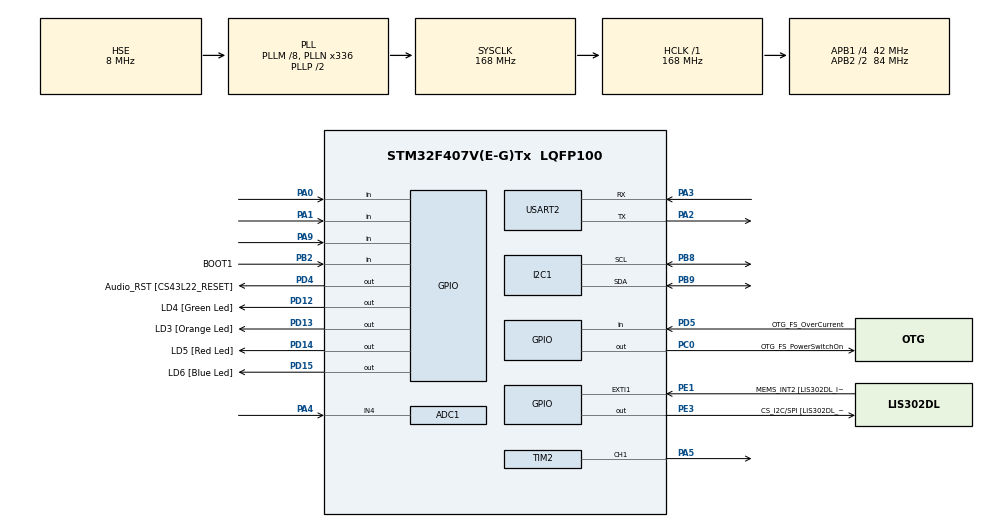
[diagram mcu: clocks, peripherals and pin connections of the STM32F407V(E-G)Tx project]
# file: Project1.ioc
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ADC1.Channel-2\#ChannelRegularConversion=ADC_CHANNEL_4
ADC1.NbrOfConversionFlag=1
ADC1.Rank-2\#ChannelRegularConversion=1
ADC1.SamplingTime-2\#ChannelRegularConversion=ADC_SAMPLETIME_3CYCLES
ADC1.master=1
FREERTOS.Tasks01=defaultTask,24,128,StartDefaultTask,Default,NULL,Dynamic,NULL,NULL;myTask02,32,128,AlarmTask,Default,NULL,Dynamic,NULL,NULL;myTask03,24,256,UITask,Default,NULL,Dynamic,NULL,NULL;myTask04,40,128,EncoderTask,Default,NULL,Dynamic,NULL,NULL
FREERTOS.configUSE_NEWLIB_REENTRANT=1
Mcu.Family=STM32F4
Mcu.Name=STM32F407V(E-G)Tx
Mcu.Package=LQFP100
NVIC.PriorityGroup=NVIC_PRIORITYGROUP_4
NVIC.TIM4_IRQn=true\:15\:0\:false\:false\:true\:false\:false\:true\:true
NVIC.TimeBase=TIM4_IRQn
NVIC.TimeBaseIP=TIM4
NVIC.USART2_IRQn=true\:5\:0\:false\:false\:true\:true\:true\:true\:true
PA0-WKUP.GPIO_PuPd=GPIO_PULLUP
PA0-WKUP.Signal=GPIO_Input
PA1.GPIO_PuPd=GPIO_PULLUP
PA1.Signal=GPIO_Input
PA12.GPIO_Label=OTG_FS_DP
PA12.GPIO_Mode=GPIO_MODE_AF_PP
PA12.GPIO_PuPd=GPIO_NOPULL
PA12.GPIO_Speed=GPIO_SPEED_FREQ_LOW
PA12.Signal=USB_OTG_FS_DP
PA13.GPIO_Label=SWDIO
PA13.Mode=Serial_Wire
PA13.Signal=SYS_JTMS-SWDIO
PA14.GPIO_Label=SWCLK
PA14.Mode=Serial_Wire
PA14.Signal=SYS_JTCK-SWCLK
PA2.Mode=Asynchronous
PA2.Signal=USART2_TX
PA3.Mode=Asynchronous
PA3.Signal=USART2_RX
PA4.Signal=ADCx_IN4
PA5.Signal=S_TIM2_CH1_ETR
PA6.GPIO_Label=SPI1_MISO [LIS302DL_SDO]
PA6.GPIO_Mode=GPIO_MODE_AF_PP
PA6.GPIO_PuPd=GPIO_NOPULL
PA6.GPIO_Speed=GPIO_SPEED_FREQ_LOW
PA6.Signal=SPI1_MISO
PA7.GPIO_Label=SPI1_MOSI [LIS302DL_SDA/SDI/SDO]
PA7.GPIO_Mode=GPIO_MODE_AF_PP
PA7.GPIO_PuPd=GPIO_NOPULL
PA7.GPIO_Speed=GPIO_SPEED_FREQ_LOW
PA7.Signal=SPI1_MOSI
PA9.GPIO_PuPd=GPIO_PULLUP
PA9.Signal=GPIO_Input
PB10.GPIO_Label=CLK_IN [MP45DT02_CLK]
PB10.GPIO_Mode=GPIO_MODE_AF_PP
PB10.GPIO_PuPd=GPIO_NOPULL
PB10.GPIO_Speed=GPIO_SPEED_FREQ_LOW
PB10.Signal=I2S2_CK
PB2.GPIO_Label=BOOT1
PB2.GPIO_Mode=GPIO_MODE_INPUT
PB2.GPIO_PuPd=GPIO_NOPULL
PB2.Signal=GPIO_Input
PB3.GPIO_Label=SWO
PB3.Signal=SYS_JTDO-SWO
PB8.Mode=I2C
PB8.Signal=I2C1_SCL
PB9.Mode=I2C
PB9.Signal=I2C1_SDA
PC0.GPIO_Label=OTG_FS_PowerSwitchOn
PC0.GPIO_PuPd=GPIO_NOPULL
PC0.GPIO_Speed=GPIO_SPEED_FREQ_LOW
PC0.PinState=GPIO_PIN_SET
PC0.Signal=GPIO_Output
PC10.GPIO_Label=I2S3_SCK [CS43L22_SCLK]
PC10.GPIO_Mode=GPIO_MODE_AF_PP
PC10.GPIO_PuPd=GPIO_NOPULL
PC10.GPIO_Speed=GPIO_SPEED_FREQ_LOW
PC10.Signal=I2S3_CK
PC12.GPIO_Label=I2S3_SD [CS43L22_SDIN]
PC12.GPIO_Mode=GPIO_MODE_AF_PP
PC12.GPIO_PuPd=GPIO_NOPULL
PC12.GPIO_Speed=GPIO_SPEED_FREQ_LOW
PC12.Signal=I2S3_SD
PC14-OSC32_IN.GPIO_Label=PC14-OSC32_IN
PC14-OSC32_IN.Mode=LSE-External-Oscillator
PC14-OSC32_IN.Signal=RCC_OSC32_IN
PC15-OSC32_OUT.GPIO_Label=PC15-OSC32_OUT
PC15-OSC32_OUT.Mode=LSE-External-Oscillator
PC15-OSC32_OUT.Signal=RCC_OSC32_OUT
PC3.GPIO_Label=PDM_OUT [MP45DT02_DOUT]
PC3.GPIO_Mode=GPIO_MODE_AF_PP
PC3.GPIO_PuPd=GPIO_NOPULL
PC3.GPIO_Speed=GPIO_SPEED_FREQ_LOW
PC3.Signal=I2S2_SD
PC7.GPIO_Label=I2S3_MCK [CS43L22_MCLK]
PC7.GPIO_Mode=GPIO_MODE_AF_PP
PC7.GPIO_PuPd=GPIO_NOPULL
PC7.GPIO_Speed=GPIO_SPEED_FREQ_LOW
PC7.Signal=I2S3_MCK
PD12.GPIO_Label=LD4 [Green Led]
PD12.GPIO_PuPd=GPIO_NOPULL
PD12.GPIO_Speed=GPIO_SPEED_FREQ_LOW
PD12.Signal=GPIO_Output
PD13.GPIO_Label=LD3 [Orange Led]
PD13.GPIO_PuPd=GPIO_NOPULL
PD13.GPIO_Speed=GPIO_SPEED_FREQ_LOW
PD13.Signal=GPIO_Output
PD14.GPIO_Label=LD5 [Red Led]
PD14.GPIO_PuPd=GPIO_NOPULL
PD14.GPIO_Speed=GPIO_SPEED_FREQ_LOW
PD14.Signal=GPIO_Output
PD15.GPIO_Label=LD6 [Blue Led]
PD15.GPIO_PuPd=GPIO_NOPULL
PD15.GPIO_Speed=GPIO_SPEED_FREQ_LOW
PD15.Signal=GPIO_Output
PD4.GPIO_Label=Audio_RST [CS43L22_RESET]
PD4.GPIO_PuPd=GPIO_NOPULL
PD4.GPIO_Speed=GPIO_SPEED_FREQ_LOW
PD4.Signal=GPIO_Output
PD5.GPIO_Label=OTG_FS_OverCurrent
PD5.GPIO_Mode=GPIO_MODE_INPUT
PD5.GPIO_PuPd=GPIO_NOPULL
PD5.Signal=GPIO_Input
PE1.GPIO_Label=MEMS_INT2 [LIS302DL_INT2]
PE1.GPIO_ModeDefaultEXTI=GPIO_MODE_EVT_RISING
PE1.GPIO_PuPd=GPIO_NOPULL
PE1.Signal=GPXTI1
PE3.GPIO_Label=CS_I2C/SPI [LIS302DL_CS_I2C/SPI]
PE3.GPIO_PuPd=GPIO_NOPULL
PE3.GPIO_Speed=GPIO_SPEED_FREQ_LOW
PE3.Signal=GPIO_Output
PH0-OSC_IN.GPIO_Label=PH0-OSC_IN
PH0-OSC_IN.Mode=HSE-External-Oscillator
PH0-OSC_IN.Signal=RCC_OSC_IN
PH1-OSC_OUT.GPIO_Label=PH1-OSC_OUT
PH1-OSC_OUT.Mode=HSE-External-Oscillator
PH1-OSC_OUT.Signal=RCC_OSC_OUT
ProjectManager.HeapSize=0x200
ProjectManager.StackSize=0x400
ProjectManager.TargetToolchain=STM32CubeIDE
RCC.48MHZClocksFreq_Value=48000000
RCC.AHBFreq_Value=168000000
RCC.APB1CLKDivider=RCC_HCLK_DIV4
RCC.APB1Freq_Value=42000000
RCC.APB1TimFreq_Value=84000000
RCC.APB2CLKDivider=RCC_HCLK_DIV2
RCC.APB2Freq_Value=84000000
RCC.APB2TimFreq_Value=168000000
RCC.CortexFreq_Value=168000000
RCC.HCLKFreq_Value=168000000
RCC.HSE_VALUE=8000000
RCC.HSI_VALUE=16000000
RCC.PLLM=8
RCC.PLLN=336
RCC.PLLQ=7
RCC.PLLSourceVirtual=RCC_PLLSOURCE_HSE
RCC.SYSCLKFreq_VALUE=168000000
RCC.SYSCLKSource=RCC_SYSCLKSOURCE_PLLCLK
RCC.VCOOutputFreq_Value=336000000
SH.ADCx_IN4.0=ADC1_IN4,IN4
SH.S_TIM2_CH1_ETR.0=TIM2_CH1,PWM Generation1 CH1
TIM2.AutoReloadPreload=TIM_AUTORELOAD_PRELOAD_ENABLE
TIM2.Channel-PWM\ Generation1\ CH1=TIM_CHANNEL_1
TIM2.Period=499
TIM2.Prescaler=83
USART2.VirtualMode=VM_ASYNC
VP_FREERTOS_VS_CMSIS_V2.Mode=CMSIS_V2
VP_SYS_VS_tim4.Mode=TIM4
VP_TIM2_VS_ClockSourceINT.Mode=Internal
board=STM32F407G-DISC1

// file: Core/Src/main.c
/* USER CODE BEGIN Header */
/**
  ******************************************************************************
  * @file           : main.c
  * @brief          : Main program body
  ******************************************************************************
  * @attention
  *
  * Copyright (c) 2025 STMicroelectronics.
  * All rights reserved.
  *
  * This software is licensed under terms that can be found in the LICENSE file
  * in the root directory of this software component.
  * If no LICENSE file comes with this software, it is provided AS-IS.
  *
  ******************************************************************************
  */
/* USER CODE END Header */
#include "main.h"
#include "cmsis_os.h"
#include "adc.h"
#include "i2c.h"
#include "tim.h"
#include "usart.h"
#include "gpio.h"

/* USER CODE BEGIN Includes */
#include "stdio.h"
#include "string.h"
#include "menu.h"
#include "ssd1306.h"
#include "ssd1306_fonts.h"
#include "esp8266.h"
#include "soft_rtc.h"
#include "buzzer.h"
#include "ldr.h"
/* USER CODE END Includes */

void SystemClock_Config(void);
void MX_FREERTOS_Init(void);

int main(void)
{

  /* MCU Configuration--------------------------------------------------------*/

  /* Reset of all peripherals, Initializes the Flash interface and the Systick. */
  HAL_Init();

  /* Configure the system clock */
  SystemClock_Config();

  /* Initialize all configured peripherals */
  MX_GPIO_Init();
  MX_I2C1_Init();
  MX_TIM2_Init();
  MX_ADC1_Init();
  MX_USART2_UART_Init();
  /* USER CODE BEGIN 2 */
  //HAL_NVIC_SetPriorityGrouping(NVIC_PRIORITYGROUP_4);
  ssd1306_Init();
  Brightness_Init();
  Buzzer_Init();
  __disable_irq();
  __set_BASEPRI(0);           // 清除优先级屏蔽
  __enable_irq();
  // 可选：给 SysTick 一个较低优先级
  //HAL_NVIC_SetPriority(SysTick_IRQn, 15, 0);

//  Buzzer_BeepMs(500, 3000);
  ssd1306_Fill(Black);
  ssd1306_SetCursor(0, 0);  ssd1306_WriteString("Connecting WIFI...", Font_6x8, White);
  ssd1306_UpdateScreen();

  char ip[24];
  if (ESP_WiFiJoin("iPhoneOfShuai", "zoushuaifeng", ip, sizeof(ip)) == HAL_OK) {
  //if (ESP_WiFiJoin("Columbia University", NULL, ip, sizeof(ip)) == HAL_OK) {  //开放网络
	  // 2) 取时间并校准软RTC
	  ssd1306_SetCursor(0, 10);  ssd1306_WriteString("Getting Time...", Font_6x8, White);
	  ssd1306_UpdateScreen();
	  char dt[48];
	  ESP_GetNYTime_TXT(dt, sizeof(dt));
  } else {
	  // 若连接失败，可调用体检看问题在哪：
	  ESP_NetDiag_Show();
	  while(1){} //用死循环卡住体检显示
  }

  //while(1){}

  /* USER CODE END 2 */

  /* Init scheduler */
  osKernelInitialize();  /* Call init function for freertos objects (in cmsis_os2.c) */
  MX_FREERTOS_Init();

  /* Start scheduler */
  osKernelStart();

  /* We should never get here as control is now taken by the scheduler */

  /* Infinite loop */

}

void SystemClock_Config(void)
{
  RCC_OscInitTypeDef RCC_OscInitStruct = {0};
  RCC_ClkInitTypeDef RCC_ClkInitStruct = {0};

  /** Configure the main internal regulator output voltage
  */
  __HAL_RCC_PWR_CLK_ENABLE();
  __HAL_PWR_VOLTAGESCALING_CONFIG(PWR_REGULATOR_VOLTAGE_SCALE1);

  /** Initializes the RCC Oscillators according to the specified parameters
  * in the RCC_OscInitTypeDef structure.
  */
  RCC_OscInitStruct.OscillatorType = RCC_OSCILLATORTYPE_HSE;
  RCC_OscInitStruct.HSEState = RCC_HSE_ON;
  RCC_OscInitStruct.PLL.PLLState = RCC_PLL_ON;
  RCC_OscInitStruct.PLL.PLLSource = RCC_PLLSOURCE_HSE;
  RCC_OscInitStruct.PLL.PLLM = 8;
  RCC_OscInitStruct.PLL.PLLN = 336;
  RCC_OscInitStruct.PLL.PLLP = RCC_PLLP_DIV2;
  RCC_OscInitStruct.PLL.PLLQ = 7;
  if (HAL_RCC_OscConfig(&RCC_OscInitStruct) != HAL_OK)
  {
    Error_Handler();
  }

  /** Initializes the CPU, AHB and APB buses clocks
  */
  RCC_ClkInitStruct.ClockType = RCC_CLOCKTYPE_HCLK|RCC_CLOCKTYPE_SYSCLK
                              |RCC_CLOCKTYPE_PCLK1|RCC_CLOCKTYPE_PCLK2;
  RCC_ClkInitStruct.SYSCLKSource = RCC_SYSCLKSOURCE_PLLCLK;
  RCC_ClkInitStruct.AHBCLKDivider = RCC_SYSCLK_DIV1;
  RCC_ClkInitStruct.APB1CLKDivider = RCC_HCLK_DIV4;
  RCC_ClkInitStruct.APB2CLKDivider = RCC_HCLK_DIV2;

  if (HAL_RCC_ClockConfig(&RCC_ClkInitStruct, FLASH_LATENCY_5) != HAL_OK)
  {
    Error_Handler();
  }
}

void HAL_TIM_PeriodElapsedCallback(TIM_HandleTypeDef *htim)
{
  if (htim->Instance == TIM4)
  {
    HAL_IncTick();
  }
}

void Error_Handler(void)
{
  __disable_irq();
  while (1)
  {
  }
}

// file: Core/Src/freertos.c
/* USER CODE BEGIN Header */
/**
  ******************************************************************************
  * File Name          : freertos.c
  * Description        : Code for freertos applications
  ******************************************************************************
  * @attention
  *
  * Copyright (c) 2025 STMicroelectronics.
  * All rights reserved.
  *
  * This software is licensed under terms that can be found in the LICENSE file
  * in the root directory of this software component.
  * If no LICENSE file comes with this software, it is provided AS-IS.
  *
  ******************************************************************************
  */
/* USER CODE END Header */

#include "FreeRTOS.h"
#include "task.h"
#include "main.h"
#include "cmsis_os.h"

/* USER CODE BEGIN Includes */
//#include "usart.h"
#include "cmsis_os2.h"
#include <stdio.h>
#include "ui_events.h"
#include "encoder.h"
#include "ui_task.h"
#include "soft_rtc.h"
#include "buzzer.h"
#include "esp8266.h"

/* USER CODE END Includes */

/* USER CODE BEGIN Variables */

// 声明队列
osMessageQueueId_t uiEventQueueHandle;

#define ALARM_FLAG_STOP   (1U << 0)
static volatile uint8_t s_ringing = 0;
static osThreadId_t gAlarmThreadId = NULL;
extern void UI_AlarmPopupBegin(uint8_t hh, uint8_t mm, uint8_t ss);
extern void UI_AlarmPopupEnd(void);

/* USER CODE END Variables */
/* Definitions for defaultTask */
osThreadId_t defaultTaskHandle;
const osThreadAttr_t defaultTask_attributes = {
  .name = "defaultTask",
  .stack_size = 128 * 4,
  .priority = (osPriority_t) osPriorityNormal,
};
/* Definitions for myTask02 */
osThreadId_t myTask02Handle;
const osThreadAttr_t myTask02_attributes = {
  .name = "myTask02",
  .stack_size = 128 * 4,
  .priority = (osPriority_t) osPriorityAboveNormal,
};
/* Definitions for myTask03 */
osThreadId_t myTask03Handle;
const osThreadAttr_t myTask03_attributes = {
  .name = "myTask03",
  .stack_size = 256 * 4,
  .priority = (osPriority_t) osPriorityNormal,
};
/* Definitions for myTask04 */
osThreadId_t myTask04Handle;
const osThreadAttr_t myTask04_attributes = {
  .name = "myTask04",
  .stack_size = 128 * 4,
  .priority = (osPriority_t) osPriorityHigh,
};

void StartDefaultTask(void *argument);
void AlarmTask(void *argument);
void UITask(void *argument);
void EncoderTask(void *argument);
void Alarm_OnUserButton(void);

void MX_FREERTOS_Init(void); /* (MISRA C 2004 rule 8.1) */

void MX_FREERTOS_Init(void) {
  /* USER CODE BEGIN Init */
	uiEventQueueHandle = osMessageQueueNew(16, sizeof(UI_Event), NULL);

  /* USER CODE END Init */

  /* Create the thread(s) */
  /* creation of defaultTask */
  defaultTaskHandle = osThreadNew(StartDefaultTask, NULL, &defaultTask_attributes);

  /* creation of myTask02 */
  myTask02Handle = osThreadNew(AlarmTask, NULL, &myTask02_attributes);

  /* creation of myTask03 */
  myTask03Handle = osThreadNew(UITask, NULL, &myTask03_attributes);

  /* creation of myTask04 */
  myTask04Handle = osThreadNew(EncoderTask, NULL, &myTask04_attributes);

}

void StartDefaultTask(void *argument)
{
  for(;;)
  {
	  osDelay(1);
  }
}

void AlarmTask(void *argument)
{
	gAlarmThreadId = osThreadGetId();

	for(;;){
		osDelay(200);  // 200ms 轮询当前时间

		uint8_t hh, mm, ss;
		if (!rtc_get_time_hms(&hh,&mm,&ss)) continue;

		size_t idx = alarm_find_due(hh, mm, ss);
		if (idx != SIZE_MAX){
			s_ringing = 1;

			// ★ 弹出 UI 提示页（显示 HH:MM:SS）
			UI_AlarmPopupBegin(hh, mm, ss);

			for (int i = 0; i < 15; ++i){
				// 立即查看是否被打断（0 超时且会清除此标志）
				uint32_t f = osThreadFlagsWait(ALARM_FLAG_STOP, osFlagsWaitAny, 0);//等待标志，等待条件，超时时间
				if ((int32_t)f >= 0) break;

				Buzzer_BeepMs(300, 2000);  // 响 300ms @2kHz
				// 静音 200ms，可被打断
				f = osThreadFlagsWait(ALARM_FLAG_STOP, osFlagsWaitAny, 200);
				if ((int32_t)f >= 0) break;
			}

			(void)alarm_delete_index(idx);
			s_ringing = 0;

			// ★ 收起 UI 提示页
			UI_AlarmPopupEnd();
		}
	}
}

/* USER CODE BEGIN Application */
void Alarm_OnUserButton(void){
    if (s_ringing && gAlarmThreadId){
        osThreadFlagsSet(gAlarmThreadId, ALARM_FLAG_STOP);
    }
}
/* USER CODE END Application */
